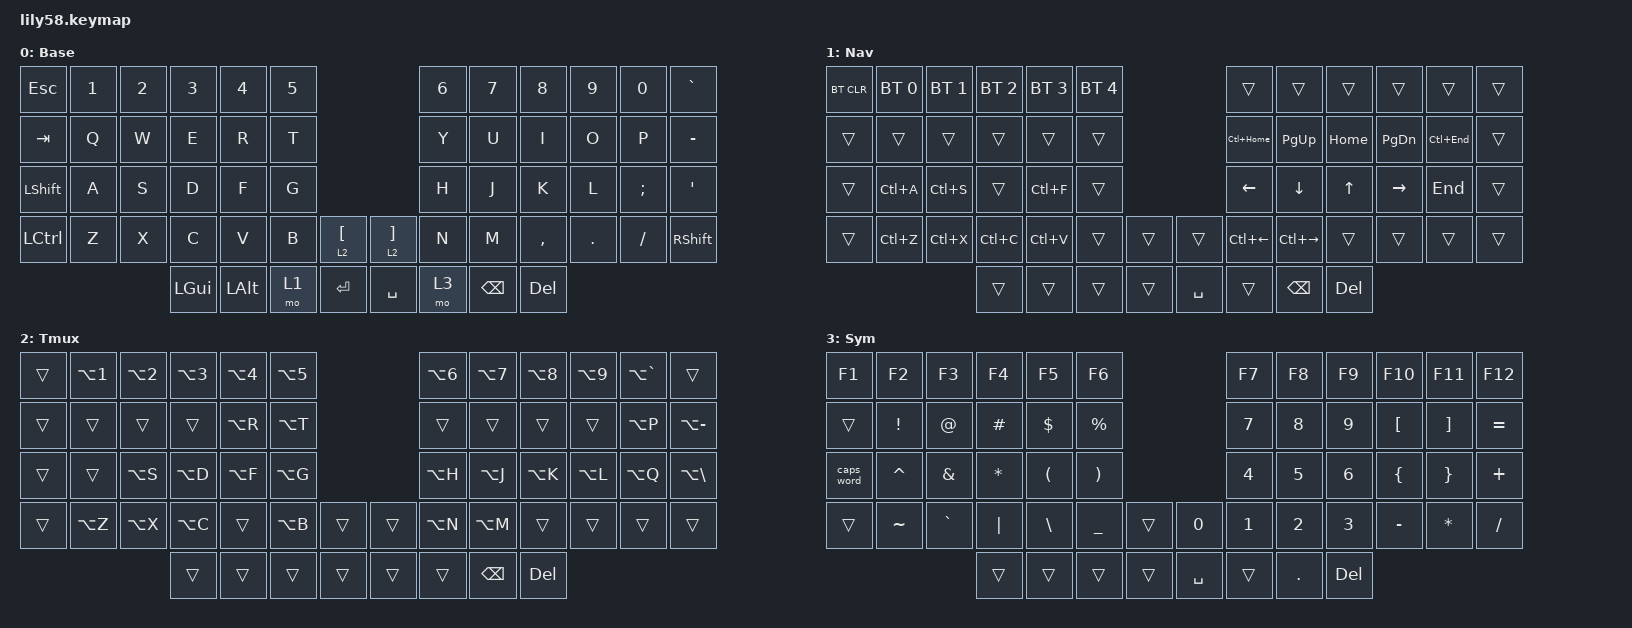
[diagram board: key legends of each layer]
/*
 * Copyright (c) 2020 The ZMK Contributors
 * SPDX-License-Identifier: MIT
 *
 * Lily58 wireless — Nav / Tmux / Sym layer design
 * See: ../../../tmux-conf/docs/superpowers/specs/2026-06-05-keyboard-tmux-design.md
 *
 * Layer map:
 *   0  Base  — QWERTY
 *   1  Nav   — hold LOWER (left offset middle finger)
 *   2  Tmux  — hold either inner gap key [ or ] (whichever hand is free)
 *   3  Sym   — hold RAISE (right offset middle finger)
 */

#include <behaviors.dtsi>
#include <dt-bindings/zmk/bt.h>
#include <dt-bindings/zmk/keys.h>

/ {
    keymap {
        compatible = "zmk,keymap";

        base_layer {
            // ┌────────┬──────┬──────┬──────┬──────┬──────┐                         ┌──────┬──────┬──────┬──────┬──────┬──────┐
            // │  ESC   │  1   │  2   │  3   │  4   │  5   │                         │  6   │  7   │  8   │  9   │  0   │  `   │
            // ├────────┼──────┼──────┼──────┼──────┼──────┤                         ├──────┼──────┼──────┼──────┼──────┼──────┤
            // │  TAB   │  Q   │  W   │  E   │  R   │  T   │                         │  Y   │  U   │  I   │  O   │  P   │  -   │
            // ├────────┼──────┼──────┼──────┼──────┼──────┤                         ├──────┼──────┼──────┼──────┼──────┼──────┤
            // │  SHFT  │  A   │  S   │  D   │  F   │  G   │                         │  H   │  J   │  K   │  L   │  ;   │  '   │
            // ├────────┼──────┼──────┼──────┼──────┼──────┼─────────┐   ┌───────────┼──────┼──────┼──────┼──────┼──────┼──────┤
            // │  CTRL  │  Z   │  X   │  C   │  V   │  B   │ [/Tmux▸ │   │ ]/Tmux▸   │  N   │  M   │  ,   │  .   │  /   │ SHFT │
            // └────────┴──────┴──────┼──────┼──────┼──────┼─────────┤   ├───────────┼──────┼──────┼──────┼──────┴──────┴──────┘
            //                        │ SUPER│ ALT  │LOWER │  ENTER  │   │   SPACE   │RAISE │ BSPC │ DEL  │
            //                        └──────┴──────┴──────┴─────────┘   └───────────┴──────┴──────┴──────┘
            display-name = "Base";
            bindings = <
&kp ESC    &kp N1    &kp N2    &kp N3    &kp N4    &kp N5                              &kp N6    &kp N7    &kp N8     &kp N9   &kp N0    &kp GRAVE
&kp TAB    &kp Q     &kp W     &kp E     &kp R     &kp T                               &kp Y     &kp U     &kp I      &kp O    &kp P     &kp MINUS
&kp LSHFT  &kp A     &kp S     &kp D     &kp F     &kp G                               &kp H     &kp J     &kp K      &kp L    &kp SEMI  &kp SQT
&kp LCTRL  &kp Z     &kp X     &kp C     &kp V     &kp B   &lt 2 LBKT   &lt 2 RBKT    &kp N     &kp M     &kp COMMA  &kp DOT  &kp FSLH  &kp RSHFT
                               &kp LGUI  &kp LALT  &mo 1   &kp ENTER    &kp SPACE      &mo 3     &kp BSPC  &kp DEL
            >;
        };

        nav_layer {
            // ┌────────┬──────┬──────┬──────┬──────┬──────┐                         ┌──────────┬──────┬──────┬──────┬──────────┬──────┐
            // │ BT_CLR │ BT 1 │ BT 2 │ BT 3 │ BT 4 │ BT 5 │                         │          │      │      │      │          │      │
            // ├────────┼──────┼──────┼──────┼──────┼──────┤                         ├──────────┼──────┼──────┼──────┼──────────┼──────┤
            // │        │      │      │      │      │      │                         │ ⌃Home    │ PgUp │ Home │ PgDn │ ⌃End     │      │
            // ├────────┼──────┼──────┼──────┼──────┼──────┤                         ├──────────┼──────┼──────┼──────┼──────────┼──────┤
            // │        │  ⌃A  │  ⌃S  │      │  ⌃F  │      │                         │  ←       │  ↓   │  ↑   │  →   │ End      │      │
            // ├────────┼──────┼──────┼──────┼──────┼──────┼─────────┐   ┌───────────┼──────────┼──────┼──────┼──────┼──────────┼──────┤
            // │        │  ⌃Z  │  ⌃X  │  ⌃C  │  ⌃V  │      │         │   │           │ ⌃←       │ ⌃→   │      │      │          │      │
            // └────────┴──────┴──────┼──────┼──────┼──────┼─────────┤   ├───────────┼──────────┼──────┼──────┼──────┴──────────┴──────┘
            //                        │      │      │▶ held │         │   │   SPACE   │          │ BSPC │ DEL  │
            //                        └──────┴──────┴───────┴─────────┘   └───────────┴──────────┴──────┴──────┘
            // Shift + Nav + HJKL = text selection.  Left hand actions fire while right hand moves.
            display-name = "Nav";
            bindings = <
&bt BT_CLR  &bt BT_SEL 0  &bt BT_SEL 1  &bt BT_SEL 2  &bt BT_SEL 3  &bt BT_SEL 4                    &trans        &trans        &trans     &trans        &trans        &trans
&trans     &trans        &trans        &trans        &trans        &trans                              &kp LC(HOME)  &kp PG_UP     &kp HOME   &kp PG_DN     &kp LC(END)   &trans
&trans     &kp LC(A)     &kp LC(S)     &trans        &kp LC(F)     &trans                              &kp LEFT      &kp DOWN      &kp UP     &kp RIGHT     &kp END       &trans
&trans     &kp LC(Z)     &kp LC(X)     &kp LC(C)     &kp LC(V)     &trans  &trans        &trans        &kp LC(LEFT)  &kp LC(RIGHT) &trans     &trans        &trans        &trans
                                       &trans        &trans        &trans  &trans        &kp SPACE     &trans        &kp BSPC      &kp DEL
            >;
        };

        tmux_layer {
            // ┌────────┬──────┬──────┬──────┬──────┬──────┐                         ┌──────┬──────┬──────┬──────┬──────┬──────┐
            // │        │ M-1  │ M-2  │ M-3  │ M-4  │ M-5  │                         │ M-6  │ M-7  │ M-8  │ M-9  │ M-`  │      │
            // ├────────┼──────┼──────┼──────┼──────┼──────┤                         ├──────┼──────┼──────┼──────┼──────┼──────┤
            // │        │      │      │      │ M-r  │ M-t  │                         │      │      │      │      │ M-p  │ M--  │
            // ├────────┼──────┼──────┼──────┼──────┼──────┤                         ├──────┼──────┼──────┼──────┼──────┼──────┤
            // │        │      │ M-s  │ M-d  │ M-f  │ M-g  │                         │ M-h  │ M-j  │ M-k  │ M-l  │ M-q  │ M-\  │
            // ├────────┼──────┼──────┼──────┼──────┼──────┼─────────┐   ┌───────────┼──────┼──────┼──────┼──────┼──────┼──────┤
            // │        │ M-z  │ M-x  │ M-c  │      │ M-b  │ ▶ held  │   │ ▶ held    │ M-n  │ M-m  │      │      │      │      │
            // └────────┴──────┴──────┼──────┼──────┼──────┼─────────┤   ├───────────┼──────┼──────┼──────┼──────┴──────┴──────┘
            //                        │      │      │      │         │   │           │      │ BSPC │ DEL  │
            //                        └──────┴──────┴───────┴─────────┘   └───────────┴──────┴──────┴──────┘
            // Shift+HJKL = M-HJKL (resize pane).  Shift+R = M-R (reload config).  M-F=sessionizer, M-G=lazygit, M-B=btop.
            display-name = "Tmux";
            bindings = <
&trans     &kp LA(N1)    &kp LA(N2)    &kp LA(N3)    &kp LA(N4)    &kp LA(N5)                          &kp LA(N6)    &kp LA(N7)    &kp LA(N8)    &kp LA(N9)    &kp LA(GRAVE)  &trans
&trans     &trans        &trans        &trans        &kp LA(R)     &kp LA(T)                           &trans        &trans        &trans        &trans        &kp LA(P)      &kp LA(MINUS)
&trans     &trans        &kp LA(S)     &kp LA(D)     &kp LA(F)     &kp LA(G)                           &kp LA(H)     &kp LA(J)     &kp LA(K)     &kp LA(L)     &kp LA(Q)      &kp LA(BSLH)
&trans     &kp LA(Z)     &kp LA(X)     &kp LA(C)     &trans        &kp LA(B)   &trans      &trans       &kp LA(N)     &kp LA(M)     &trans        &trans        &trans         &trans
                                       &trans        &trans        &trans      &trans      &trans       &trans        &kp BSPC      &kp DEL
            >;
        };

        sym_layer {
            // ┌────────┬──────┬──────┬──────┬──────┬──────┐                         ┌──────┬──────┬──────┬──────┬──────┬──────┐
            // │   F1   │  F2  │  F3  │  F4  │  F5  │  F6  │                         │  F7  │  F8  │  F9  │  F10 │  F11 │  F12 │
            // ├────────┼──────┼──────┼──────┼──────┼──────┤                         ├──────┼──────┼──────┼──────┼──────┼──────┤
            // │        │  !   │  @   │  #   │  $   │  %   │                         │  7   │  8   │  9   │  [   │  ]   │  =   │
            // ├────────┼──────┼──────┼──────┼──────┼──────┤                         ├──────┼──────┼──────┼──────┼──────┼──────┤
            // │ CAPWRD │  ^   │  &   │  *   │  (   │  )   │                         │  4   │  5   │  6   │  {   │  }   │  +   │
            // ├────────┼──────┼──────┼──────┼──────┼──────┼─────────┐   ┌───────────┼──────┼──────┼──────┼──────┼──────┼──────┤
            // │        │  ~   │  `   │  |   │  \   │  _   │         │   │     0     │  1   │  2   │  3   │  -   │  *   │  /   │
            // └────────┴──────┴──────┼──────┼──────┼──────┼─────────┤   ├───────────┼──────┼──────┼──────┼──────┴──────┴──────┘
            //                        │      │      │      │         │   │   SPACE   │▶ held│  .   │ DEL  │
            //                        └──────┴──────┴───────┴─────────┘   └───────────┴──────┴──────┴──────┘
            // Top row: F1–F12.  Caps Lock position: caps_word.  Left: symbols.  Right: numpad + operators.
            display-name = "Sym";
            bindings = <
&kp F1     &kp F2        &kp F3        &kp F4        &kp F5        &kp F6                              &kp F7    &kp F8    &kp F9    &kp F10   &kp F11   &kp F12
&trans     &kp EXCL      &kp AT        &kp HASH      &kp DLLR      &kp PRCNT                           &kp N7    &kp N8    &kp N9    &kp LBKT  &kp RBKT  &kp EQUAL
&caps_word &kp CARET     &kp AMPS      &kp ASTRK     &kp LPAR      &kp RPAR                            &kp N4    &kp N5    &kp N6    &kp LBRC  &kp RBRC  &kp PLUS
&trans     &kp TILDE     &kp GRAVE     &kp PIPE      &kp BSLH      &kp UNDER   &trans      &kp N0      &kp N1    &kp N2    &kp N3    &kp MINUS &kp ASTRK &kp FSLH
                                       &trans        &trans        &trans      &trans      &kp SPACE   &trans    &kp DOT   &kp DEL
            >;
        };

        extra_1 { status = "reserved"; };

        extra_2 { status = "reserved"; };

        extra_3 { status = "reserved"; };
    };
};
